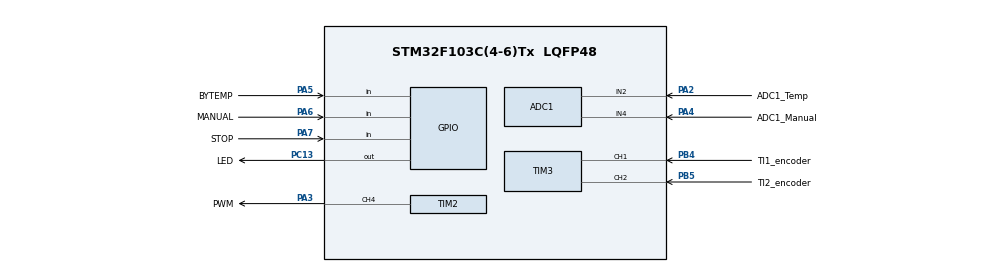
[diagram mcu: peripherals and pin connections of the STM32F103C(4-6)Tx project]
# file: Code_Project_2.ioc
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ADC1.Channel-1\#ChannelRegularConversion=ADC_CHANNEL_2
ADC1.Channel-2\#ChannelRegularConversion=ADC_CHANNEL_4
ADC1.ContinuousConvMode=ENABLE
ADC1.EnableInjectedConversion=DISABLE
ADC1.ExternalTrigConv=ADC_SOFTWARE_START
ADC1.NbrOfConversion=2
ADC1.NbrOfConversionFlag=1
ADC1.Rank-1\#ChannelRegularConversion=1
ADC1.Rank-2\#ChannelRegularConversion=2
ADC1.SamplingTime-1\#ChannelRegularConversion=ADC_SAMPLETIME_1CYCLE_5
ADC1.SamplingTime-2\#ChannelRegularConversion=ADC_SAMPLETIME_1CYCLE_5
ADC1.master=1
Dma.ADC1.0.Direction=DMA_PERIPH_TO_MEMORY
Dma.ADC1.0.Instance=DMA1_Channel1
Dma.ADC1.0.MemDataAlignment=DMA_MDATAALIGN_HALFWORD
Dma.ADC1.0.MemInc=DMA_MINC_ENABLE
Dma.ADC1.0.Mode=DMA_CIRCULAR
Dma.ADC1.0.PeriphDataAlignment=DMA_PDATAALIGN_HALFWORD
Dma.ADC1.0.PeriphInc=DMA_PINC_DISABLE
Dma.ADC1.0.Priority=DMA_PRIORITY_LOW
Dma.Request0=ADC1
Mcu.Family=STM32F1
Mcu.Name=STM32F103C(4-6)Tx
Mcu.Package=LQFP48
NVIC.DMA1_Channel1_IRQn=true\:0\:0\:false\:false\:true\:false\:true
NVIC.PriorityGroup=NVIC_PRIORITYGROUP_4
NVIC.TIM1_UP_IRQn=true\:0\:0\:false\:false\:true\:true\:true
PA13.Mode=Serial_Wire
PA13.Signal=SYS_JTMS-SWDIO
PA14.Mode=Serial_Wire
PA14.Signal=SYS_JTCK-SWCLK
PA2.GPIO_Label=ADC1_Temp
PA2.Signal=ADCx_IN2
PA3.GPIO_Label=PWM
PA3.Signal=S_TIM2_CH4
PA4.GPIO_Label=ADC1_Manual
PA4.Signal=ADCx_IN4
PA5.GPIO_Label=BYTEMP
PA5.GPIO_PuPd=GPIO_PULLUP
PA5.Signal=GPIO_Input
PA6.GPIO_Label=MANUAL
PA6.GPIO_PuPd=GPIO_PULLUP
PA6.Signal=GPIO_Input
PA7.GPIO_Label=STOP
PA7.GPIO_PuPd=GPIO_PULLUP
PA7.Signal=GPIO_Input
PB4.GPIO_Label=TI1_encoder
PB4.Signal=S_TIM3_CH1
PB5.GPIO_Label=TI2_encoder
PB5.Signal=S_TIM3_CH2
PC13-TAMPER-RTC.GPIO_Label=LED
PC13-TAMPER-RTC.PinState=GPIO_PIN_SET
PC13-TAMPER-RTC.Signal=GPIO_Output
ProjectManager.HeapSize=0x200
ProjectManager.StackSize=0x400
ProjectManager.TargetToolchain=STM32CubeIDE
RCC.APB1Freq_Value=8000000
RCC.APB2Freq_Value=8000000
SH.ADCx_IN2.0=ADC1_IN2,IN2
SH.ADCx_IN4.0=ADC1_IN4,IN4
SH.S_TIM2_CH4.0=TIM2_CH4,PWM Generation4 CH4
SH.S_TIM3_CH1.0=TIM3_CH1,Encoder_Interface
SH.S_TIM3_CH2.0=TIM3_CH2,Encoder_Interface
TIM1.Period=999
TIM1.Prescaler=79
TIM2.Channel-PWM\ Generation4\ CH4=TIM_CHANNEL_4
TIM2.Period=99
VP_TIM1_VS_ClockSourceINT.Mode=Internal
VP_TIM2_VS_ClockSourceINT.Mode=Internal
board=custom

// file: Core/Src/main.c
/* USER CODE BEGIN Header */
/**
  ******************************************************************************
  * @file           : main.c
  * @brief          : Main program body
  ******************************************************************************
  * @attention
  *
  * <h2><center>&copy; Copyright (c) 2021 STMicroelectronics.
  * All rights reserved.</center></h2>
  *
  * This software component is licensed by ST under BSD 3-Clause license,
  * the "License"; You may not use this file except in compliance with the
  * License. You may obtain a copy of the License at:
  *                        opensource.org/licenses/BSD-3-Clause
  *
  ******************************************************************************
  */
/* USER CODE END Header */
#include "main.h"

/* USER CODE BEGIN Includes */
#include "PID.h"
#include "input.h"
#include "lcd_16x2.h"
/* USER CODE END Includes */

/* USER CODE BEGIN PD */
#define MODE_BYTEMP 	1
#define MODE_MANUAL		2
#define MODE_NONE		0
/* USER CODE END PD */

ADC_HandleTypeDef hadc1;
DMA_HandleTypeDef hdma_adc1;

TIM_HandleTypeDef htim1;
TIM_HandleTypeDef htim2;
TIM_HandleTypeDef htim3;

/* USER CODE BEGIN PV */

uint16_t actualSpeed = 0, desireSpeed = 0;
uint8_t mode = MODE_NONE;
uint8_t duty = 0;
uint8_t temp = 0;
uint16_t data[2];
/* USER CODE END PV */

void SystemClock_Config(void);
static void MX_GPIO_Init(void);
static void MX_ADC1_Init(void);
static void MX_TIM2_Init(void);
static void MX_DMA_Init(void);
static void MX_TIM3_Init(void);
static void MX_TIM1_Init(void);
/* USER CODE BEGIN PFP */
void TIM2_PWM_Set_Duty(uint8_t duty);
void TIM2_PWM_Set_Frequency(uint32_t frequency);
/* USER CODE END PFP */

int main(void)
{

  /* MCU Configuration--------------------------------------------------------*/

  /* Reset of all peripherals, Initializes the Flash interface and the Systick. */
  HAL_Init();

  /* USER CODE BEGIN Init */
  Lcd_Init();
  /* USER CODE END Init */

  /* Configure the system clock */
  SystemClock_Config();

  /* Initialize all configured peripherals */
  MX_GPIO_Init();
  MX_DMA_Init();
  MX_ADC1_Init();
  MX_TIM2_Init();
  MX_TIM3_Init();
  MX_TIM1_Init();
  /* USER CODE BEGIN 2 */
  //LCD display
  Lcd_display1();

  TIM2_PWM_Set_Duty(duty);
  TIM2_PWM_Set_Frequency(2000);
  if( HAL_TIM_PWM_Start(&htim2, TIM_CHANNEL_4) != HAL_OK)
  {
	  Error_Handler();
  }
  if( HAL_ADC_Start_DMA(&hadc1, (uint32_t*)data, 2) != HAL_OK)
  {
	  Error_Handler();
  }
  /* USER CODE END 2 */

  /* Infinite loop */
  /* USER CODE BEGIN WHILE */

  while (1)
  {

	  if(HAL_GPIO_ReadPin(BYTEMP_GPIO_Port, BYTEMP_Pin) == 0)
	  {
		  HAL_Delay(20);
		  mode = MODE_BYTEMP;
		  if(HAL_TIM_Base_Start_IT(&htim1) != HAL_OK)
		  {
			  Error_Handler();
		  }
	  }else if(HAL_GPIO_ReadPin(MANUAL_GPIO_Port, MANUAL_Pin) == 0)
	  {
		  HAL_Delay(20);
		  mode = MODE_MANUAL;
		  if(HAL_TIM_Base_Start_IT(&htim1) != HAL_OK)
		  {
			  Error_Handler();
		  }
	  }
	  //if BTN has not been pressed, loop
	  while(mode != MODE_NONE);
//	  while(duty <= 100)
//	  {
//		  TIM2_PWM_Set_Duty(duty);
//		  HAL_Delay(100);
//		  duty += 10;
//	  }
//	  duty = 0;

//	HAL_ADC_Start(&hadc1);
//	HAL_ADC_PollForConversion(&hadc1, HAL_MAX_DELAY);
//	temperature = ((float)HAL_ADC_GetValue(&hadc1) / 4096) * 3.3 * 100;
//	Lcd_display(temperature, 2205);
//	HAL_Delay(1000);

    /* USER CODE END WHILE */

  }
}

void SystemClock_Config(void)
{
  RCC_OscInitTypeDef RCC_OscInitStruct = {0};
  RCC_ClkInitTypeDef RCC_ClkInitStruct = {0};
  RCC_PeriphCLKInitTypeDef PeriphClkInit = {0};

  /** Initializes the RCC Oscillators according to the specified parameters
  * in the RCC_OscInitTypeDef structure.
  */
  RCC_OscInitStruct.OscillatorType = RCC_OSCILLATORTYPE_HSI;
  RCC_OscInitStruct.HSIState = RCC_HSI_ON;
  RCC_OscInitStruct.HSICalibrationValue = RCC_HSICALIBRATION_DEFAULT;
  RCC_OscInitStruct.PLL.PLLState = RCC_PLL_NONE;
  if (HAL_RCC_OscConfig(&RCC_OscInitStruct) != HAL_OK)
  {
    Error_Handler();
  }
  /** Initializes the CPU, AHB and APB buses clocks
  */
  RCC_ClkInitStruct.ClockType = RCC_CLOCKTYPE_HCLK|RCC_CLOCKTYPE_SYSCLK
                              |RCC_CLOCKTYPE_PCLK1|RCC_CLOCKTYPE_PCLK2;
  RCC_ClkInitStruct.SYSCLKSource = RCC_SYSCLKSOURCE_HSI;
  RCC_ClkInitStruct.AHBCLKDivider = RCC_SYSCLK_DIV1;
  RCC_ClkInitStruct.APB1CLKDivider = RCC_HCLK_DIV1;
  RCC_ClkInitStruct.APB2CLKDivider = RCC_HCLK_DIV1;

  if (HAL_RCC_ClockConfig(&RCC_ClkInitStruct, FLASH_LATENCY_0) != HAL_OK)
  {
    Error_Handler();
  }
  PeriphClkInit.PeriphClockSelection = RCC_PERIPHCLK_ADC;
  PeriphClkInit.AdcClockSelection = RCC_ADCPCLK2_DIV2;
  if (HAL_RCCEx_PeriphCLKConfig(&PeriphClkInit) != HAL_OK)
  {
    Error_Handler();
  }
}

static void MX_ADC1_Init(void)
{

  ADC_ChannelConfTypeDef sConfig = {0};

  /** Common config
  */
  hadc1.Instance = ADC1;
  hadc1.Init.ScanConvMode = ADC_SCAN_ENABLE;
  hadc1.Init.ContinuousConvMode = ENABLE;
  hadc1.Init.DiscontinuousConvMode = DISABLE;
  hadc1.Init.ExternalTrigConv = ADC_SOFTWARE_START;
  hadc1.Init.DataAlign = ADC_DATAALIGN_RIGHT;
  hadc1.Init.NbrOfConversion = 2;
  if (HAL_ADC_Init(&hadc1) != HAL_OK)
  {
    Error_Handler();
  }
  /** Configure Regular Channel
  */
  sConfig.Channel = ADC_CHANNEL_2;
  sConfig.Rank = ADC_REGULAR_RANK_1;
  sConfig.SamplingTime = ADC_SAMPLETIME_1CYCLE_5;
  if (HAL_ADC_ConfigChannel(&hadc1, &sConfig) != HAL_OK)
  {
    Error_Handler();
  }
  /** Configure Regular Channel
  */
  sConfig.Channel = ADC_CHANNEL_4;
  sConfig.Rank = ADC_REGULAR_RANK_2;
  if (HAL_ADC_ConfigChannel(&hadc1, &sConfig) != HAL_OK)
  {
    Error_Handler();
  }

}

static void MX_TIM1_Init(void)
{

  TIM_ClockConfigTypeDef sClockSourceConfig = {0};
  TIM_MasterConfigTypeDef sMasterConfig = {0};

  htim1.Instance = TIM1;
  htim1.Init.Prescaler = 79;
  htim1.Init.CounterMode = TIM_COUNTERMODE_UP;
  htim1.Init.Period = 999;
  htim1.Init.ClockDivision = TIM_CLOCKDIVISION_DIV1;
  htim1.Init.RepetitionCounter = 0;
  htim1.Init.AutoReloadPreload = TIM_AUTORELOAD_PRELOAD_DISABLE;
  if (HAL_TIM_Base_Init(&htim1) != HAL_OK)
  {
    Error_Handler();
  }
  sClockSourceConfig.ClockSource = TIM_CLOCKSOURCE_INTERNAL;
  if (HAL_TIM_ConfigClockSource(&htim1, &sClockSourceConfig) != HAL_OK)
  {
    Error_Handler();
  }
  sMasterConfig.MasterOutputTrigger = TIM_TRGO_RESET;
  sMasterConfig.MasterSlaveMode = TIM_MASTERSLAVEMODE_DISABLE;
  if (HAL_TIMEx_MasterConfigSynchronization(&htim1, &sMasterConfig) != HAL_OK)
  {
    Error_Handler();
  }

}

static void MX_TIM2_Init(void)
{

  TIM_ClockConfigTypeDef sClockSourceConfig = {0};
  TIM_MasterConfigTypeDef sMasterConfig = {0};
  TIM_OC_InitTypeDef sConfigOC = {0};

  htim2.Instance = TIM2;
  htim2.Init.Prescaler = 0;
  htim2.Init.CounterMode = TIM_COUNTERMODE_UP;
  htim2.Init.Period = 99;
  htim2.Init.ClockDivision = TIM_CLOCKDIVISION_DIV1;
  htim2.Init.AutoReloadPreload = TIM_AUTORELOAD_PRELOAD_DISABLE;
  if (HAL_TIM_Base_Init(&htim2) != HAL_OK)
  {
    Error_Handler();
  }
  sClockSourceConfig.ClockSource = TIM_CLOCKSOURCE_INTERNAL;
  if (HAL_TIM_ConfigClockSource(&htim2, &sClockSourceConfig) != HAL_OK)
  {
    Error_Handler();
  }
  if (HAL_TIM_PWM_Init(&htim2) != HAL_OK)
  {
    Error_Handler();
  }
  sMasterConfig.MasterOutputTrigger = TIM_TRGO_RESET;
  sMasterConfig.MasterSlaveMode = TIM_MASTERSLAVEMODE_DISABLE;
  if (HAL_TIMEx_MasterConfigSynchronization(&htim2, &sMasterConfig) != HAL_OK)
  {
    Error_Handler();
  }
  sConfigOC.OCMode = TIM_OCMODE_PWM1;
  sConfigOC.Pulse = 0;
  sConfigOC.OCPolarity = TIM_OCPOLARITY_HIGH;
  sConfigOC.OCFastMode = TIM_OCFAST_DISABLE;
  if (HAL_TIM_PWM_ConfigChannel(&htim2, &sConfigOC, TIM_CHANNEL_4) != HAL_OK)
  {
    Error_Handler();
  }
  HAL_TIM_MspPostInit(&htim2);

}

static void MX_TIM3_Init(void)
{

  TIM_Encoder_InitTypeDef sConfig = {0};
  TIM_MasterConfigTypeDef sMasterConfig = {0};

  htim3.Instance = TIM3;
  htim3.Init.Prescaler = 0;
  htim3.Init.CounterMode = TIM_COUNTERMODE_UP;
  htim3.Init.Period = 65535;
  htim3.Init.ClockDivision = TIM_CLOCKDIVISION_DIV1;
  htim3.Init.AutoReloadPreload = TIM_AUTORELOAD_PRELOAD_DISABLE;
  sConfig.EncoderMode = TIM_ENCODERMODE_TI1;
  sConfig.IC1Polarity = TIM_ICPOLARITY_RISING;
  sConfig.IC1Selection = TIM_ICSELECTION_DIRECTTI;
  sConfig.IC1Prescaler = TIM_ICPSC_DIV1;
  sConfig.IC1Filter = 0;
  sConfig.IC2Polarity = TIM_ICPOLARITY_RISING;
  sConfig.IC2Selection = TIM_ICSELECTION_DIRECTTI;
  sConfig.IC2Prescaler = TIM_ICPSC_DIV1;
  sConfig.IC2Filter = 0;
  if (HAL_TIM_Encoder_Init(&htim3, &sConfig) != HAL_OK)
  {
    Error_Handler();
  }
  sMasterConfig.MasterOutputTrigger = TIM_TRGO_RESET;
  sMasterConfig.MasterSlaveMode = TIM_MASTERSLAVEMODE_DISABLE;
  if (HAL_TIMEx_MasterConfigSynchronization(&htim3, &sMasterConfig) != HAL_OK)
  {
    Error_Handler();
  }

}

static void MX_DMA_Init(void)
{

  /* DMA controller clock enable */
  __HAL_RCC_DMA1_CLK_ENABLE();

  /* DMA interrupt init */
  /* DMA1_Channel1_IRQn interrupt configuration */
  HAL_NVIC_SetPriority(DMA1_Channel1_IRQn, 0, 0);
  HAL_NVIC_EnableIRQ(DMA1_Channel1_IRQn);

}

static void MX_GPIO_Init(void)
{
  GPIO_InitTypeDef GPIO_InitStruct = {0};

  /* GPIO Ports Clock Enable */
  __HAL_RCC_GPIOC_CLK_ENABLE();
  __HAL_RCC_GPIOA_CLK_ENABLE();
  __HAL_RCC_GPIOB_CLK_ENABLE();

  /*Configure GPIO pin Output Level */
  HAL_GPIO_WritePin(LED_GPIO_Port, LED_Pin, GPIO_PIN_SET);

  /*Configure GPIO pin : LED_Pin */
  GPIO_InitStruct.Pin = LED_Pin;
  GPIO_InitStruct.Mode = GPIO_MODE_OUTPUT_PP;
  GPIO_InitStruct.Pull = GPIO_NOPULL;
  GPIO_InitStruct.Speed = GPIO_SPEED_FREQ_LOW;
  HAL_GPIO_Init(LED_GPIO_Port, &GPIO_InitStruct);

  /*Configure GPIO pins : BYTEMP_Pin MANUAL_Pin STOP_Pin */
  GPIO_InitStruct.Pin = BYTEMP_Pin|MANUAL_Pin|STOP_Pin;
  GPIO_InitStruct.Mode = GPIO_MODE_INPUT;
  GPIO_InitStruct.Pull = GPIO_PULLUP;
  HAL_GPIO_Init(GPIOA, &GPIO_InitStruct);

}

/* USER CODE BEGIN 4 */

/**
  * @brief GPIO Initialization Function
  * @param Duty(%) 0 -> 100. % High voltage
  * @retval None
  */
void TIM2_PWM_Set_Duty(uint8_t duty)
{
	uint16_t compare = (htim2.Init.Period + 1) * duty / 100;
	__HAL_TIM_SET_COMPARE(&htim2, TIM_CHANNEL_4, compare);
}

/**
  * @brief GPIO Initialization Function
  * @param frequency(Hz); 2 < f < 10000
  * @retval None
  */
void TIM2_PWM_Set_Frequency(uint32_t frequency)
{
	// PSC > 0 -> if f = 10000, period must < 800
	// frequency = f_timer / [(Period + 1) * (Psc + 1)]
	// -> Psc = f_timer / ((period + 1)*frequency) - 1;
	uint32_t period = htim2.Init.Period;
	uint32_t f_timer = HAL_RCC_GetPCLK1Freq() * 1; 	 //1 is APB1 time multiplier value
	TIM2->PSC = f_timer / ((period + 1) * frequency) - 1;
}

void HAL_TIM_PeriodElapsedCallback(TIM_HandleTypeDef *htim)
{
  /* Prevent unused argument(s) compilation warning */
  UNUSED(htim);
  HAL_GPIO_TogglePin(LED_GPIO_Port, LED_Pin);

  temp = read_temp((uint16_t*)data);
  actualSpeed = read_speed(htim3);

  if(mode == MODE_BYTEMP)
  {
	//  desireSpeed = temp_to_speed();
  }else if(mode == MODE_MANUAL)
  {
	//  desireSpeed = manual_to_speed();
  }
  duty = PID(actualSpeed, desireSpeed);
  TIM2_PWM_Set_Duty(duty);
  Lcd_display2(temp, actualSpeed);

  HAL_SuspendTick();
  __WFI();
  HAL_ResumeTick();
  /* NOTE : This function should not be modified, when the callback is needed,
            the HAL_TIM_PeriodElapsedCallback could be implemented in the user file
   */
}

/* USER CODE END 4 */

void Error_Handler(void)
{
  __disable_irq();
  while (1)
  {
  }
}

/************************ (C) COPYRIGHT STMicroelectronics *****END OF FILE****/
